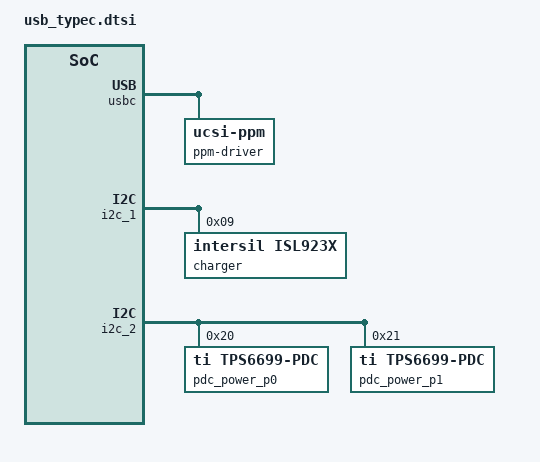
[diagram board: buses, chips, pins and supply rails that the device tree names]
/* Copyright 2026 The ChromiumOS Authors
 * Use of this source code is governed by a BSD-style license that can be
 * found in the LICENSE file.
 */

#include <usbc-policy.dtsi>

/ {
	usbc {
		#address-cells = <1>;
		#size-cells = <0>;

		usbc_port0: port0@0 {
			compatible = "named-usbc-port";
			reg = <0>;
			chg = <&charger>;
			pdc = <&pdc_power_p0>;
			pd-retimer;
			policy = <&cros_policy>;
		};
		usbc_port1: port1@1 {
			compatible = "named-usbc-port";
			reg = <1>;
			pdc = <&pdc_power_p1>;
			pd-retimer;
			policy = <&cros_policy>;
		};
		ppm-driver {
			compatible = "ucsi-ppm";
		};
	};
};

&i2c_1 {
	charger: isl9238@9 {
		compatible = "intersil,isl923x";
		status = "okay";
		reg = <0x9>;
	};
};

&i2c_2 {
	pdc_power_p0: tps6699-pdc@20 {
		compatible = "ti,tps6699-pdc";
		reg = <0x20>;
		irq-gpios = <RTS5912_GPIO105 GPIO_ACTIVE_LOW>;
		port-index-on-chip = <0x1>;
		frs-supported;
		ccd;
	};
	pdc_power_p1: tps6699-pdc@21 {
		compatible = "ti,tps6699-pdc";
		reg = <0x21>;
		irq-gpios = <RTS5912_GPIO083 GPIO_ACTIVE_LOW>;
		port-index-on-chip = <0x1>;
		frs-supported;
	};
};
